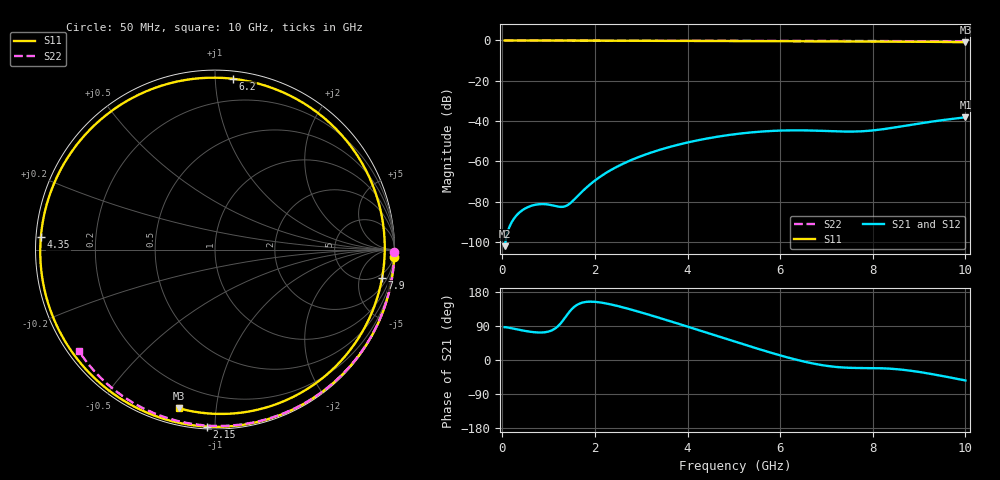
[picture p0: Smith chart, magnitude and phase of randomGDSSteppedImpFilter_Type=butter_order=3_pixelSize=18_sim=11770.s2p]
! freq	dB(S11)	phase(S11)	dB(S12)	phase(S12)
!  dB(S21)	phase(S21)	dB(S22)	phase(S22)
!S-par simulation data
#  GHz  S  DB  R 50
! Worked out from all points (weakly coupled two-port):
!   200 points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, 50 MHz to 10 GHz, reference 50 ohm
!   highest |S21| = -38.14 dB at 10 GHz (marker M1); lowest = -102.1 dB at 50 MHz (marker M2)
!   lowest |S11| = -0.9 dB at 10 GHz (marker M3), VSWR 20.42, Z = 4 - j39.7 ohm
!   |S11| at or under -10 dB: nowhere
!   |S22| runs from -0.5 to 0.0 dB; largest |S21 - S12| = 0
!   S11 on the Smith chart (normalised r, x): 50 MHz: 1, -51; 2.15 GHz: 0.01, -0.96; 4.35 GHz: 0.01, +0.04; 6.2 GHz: 0.05, +1.11; 7.9 GHz: 4, -11; 10 GHz: 0.08, -0.79
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0.05  -0.01 -2.3  -102.05 86.7  -102.05 86.7  -0.00 -0.8
0.7  -0.04 -31.0  -81.57 73.2  -81.57 73.2  -0.01 -11.6
1.5  -0.08 -65.4  -80.10 134.2  -80.10 134.2  -0.03 -24.7
1.75  -0.09 -75.9  -74.41 152.0  -74.41 152.0  -0.04 -28.7
2.15  -0.11 -92.5  -67.04 151.2  -67.04 151.2  -0.05 -35.1
2.75  -0.14 -117.1  -59.67 134.1  -59.67 134.1  -0.06 -44.5
3.4  -0.18 -143.8  -54.25 110.9  -54.25 110.9  -0.07 -54.5
3.9  -0.21 -164.7  -51.16 92.0  -51.16 92.0  -0.09 -62.0
4.35  -0.24 175.8  -48.95 74.6  -48.95 74.6  -0.10 -68.6
4.7  -0.27 160.0  -47.55 61.1  -47.55 61.1  -0.11 -73.7
5.05  -0.29 143.5  -46.43 47.5  -46.43 47.5  -0.12 -78.7
5.65  -0.34 113.4  -45.11 24.7  -45.11 24.7  -0.14 -87.1
6.2  -0.38 83.9  -44.61 5.5  -44.61 5.5  -0.17 -94.6
6.7  -0.41 56.0  -44.70 -9.0  -44.70 -9.0  -0.20 -101.3
7.3  -0.45 22.5  -45.15 -19.3  -45.15 -19.3  -0.23 -109.1
7.6  -0.47 6.1  -45.19 -21.0  -45.19 -21.0  -0.26 -113.0
7.9  -0.50 -9.6  -44.84 -21.3  -44.84 -21.3  -0.28 -116.9
8.35  -0.54 -32.1  -43.60 -22.7  -43.60 -22.7  -0.32 -122.6
8.75  -0.60 -50.8  -42.13 -27.2  -42.13 -27.2  -0.35 -127.6
9.15  -0.66 -68.4  -40.68 -34.5  -40.68 -34.5  -0.39 -132.7
9.55  -0.74 -85.0  -39.39 -43.3  -39.39 -43.3  -0.43 -137.7
10  -0.85 -102.9  -38.14 -54.0  -38.14 -54.0  -0.48 -143.3
